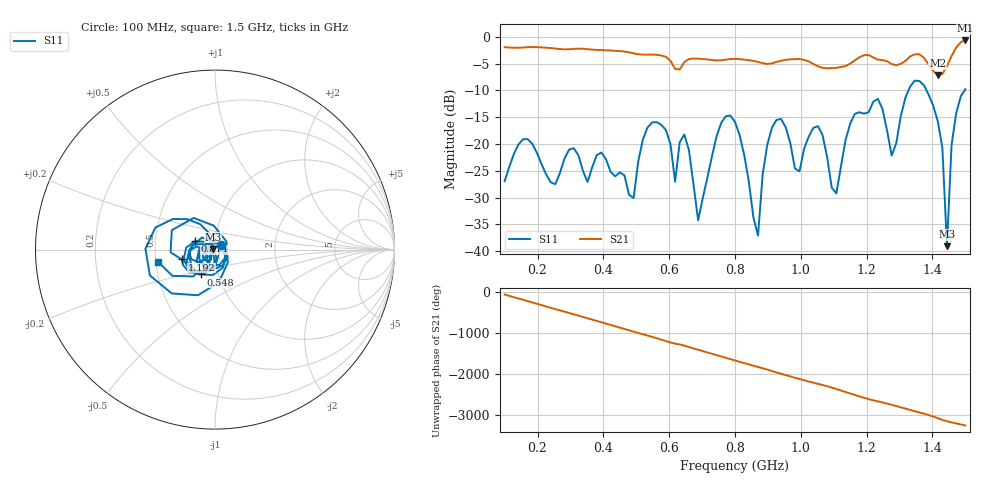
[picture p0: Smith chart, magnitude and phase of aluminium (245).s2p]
! NanoVNA-App
! Date: 2025-09-25 14:57:11
! Start: 100MHz Stop: 1,5GHz Points: 101
! S-Parameter data: F S11 S21 S12 S22
# Hz S RI R 50
!  Frequency  S11_Real  S11_Imag  S21_Real  S21_Imag  S12_Real  S12_Imag  S22_Real  S22_Imag
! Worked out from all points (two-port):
!   101 points, 100 MHz to 1.5 GHz, reference 50 ohm
!   highest |S21| = -0.66 dB at 1.5 GHz (marker M1); lowest = -7.2 dB at 1.416 GHz (marker M2)
!   |S21| within 3 dB of the highest: start of sweep to 587.2 MHz; 1.457 GHz to end of sweep (the widest 2 of 4)
!   lowest |S11| = -39.1 dB at 1.444 GHz (marker M3), VSWR 1.02, Z = 49 + j0.358 ohm
!   |S11| at or under -10 dB: start of sweep to 1.327 GHz; 1.382 GHz to 1.498 GHz (115.6 MHz wide, 8.03 % of centre)
!   S12 and S22 are empty: the file has one direction only
!   S11 on the Smith chart (normalised r, x): 100 MHz: 1.07, +0.06; 548 MHz: 0.82, -0.23; 814 MHz: 0.80, +0.07; 1.192 GHz: 0.69, -0.08; 1.5 GHz: 0.51, -0.08
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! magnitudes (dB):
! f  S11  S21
! 100 MHz  -27.0  -1.9
! 338 MHz  -25.0  -2.2
! 492 MHz  -30.1  -3.1
! 548 MHz  -16.0  -3.3
! 576 MHz  -16.4  -3.5
! 618 MHz  -27.0  -6.0
! 646 MHz  -18.2  -4.7
! 688 MHz  -34.3  -4.1
! 800 MHz  -15.9  -4.1
! 814 MHz  -18.3  -4.2
! 870 MHz  -37.1  -4.7
! 912 MHz  -17.0  -4.9
! 996 MHz  -25.1  -4.1
! 1.038 GHz  -17.0  -5.0
! 1.108 GHz  -29.2  -5.8
! 1.192 GHz  -14.3  -3.4
! 1.276 GHz  -22.2  -5.1
! 1.346 GHz  -8.2  -3.2
! 1.416 GHz  -15.7  -7.2
! 1.444 GHz  -39.1  -5.5
! 1.458 GHz  -20.2  -3.6
! 1.5 GHz  -9.8  -0.7
